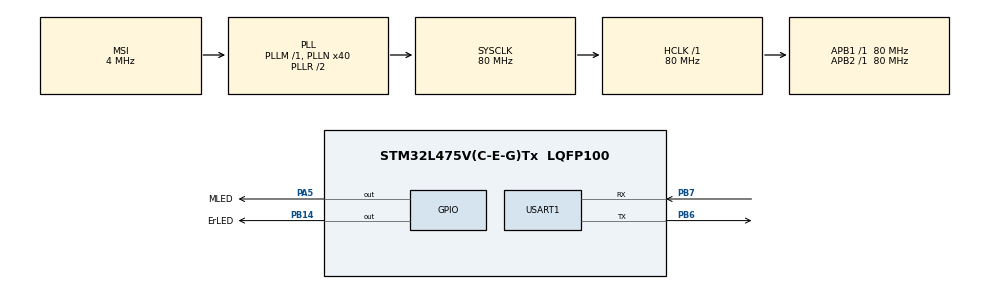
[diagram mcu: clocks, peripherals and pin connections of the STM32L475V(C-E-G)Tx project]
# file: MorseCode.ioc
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Mcu.Family=STM32L4
Mcu.Name=STM32L475V(C-E-G)Tx
Mcu.Package=LQFP100
NVIC.PriorityGroup=NVIC_PRIORITYGROUP_4
PA5.GPIO_Label=MLED
PA5.Signal=GPIO_Output
PB14.GPIO_Label=ErLED
PB14.Signal=GPIO_Output
PB6.Mode=Asynchronous
PB6.Signal=USART1_TX
PB7.Mode=Asynchronous
PB7.Signal=USART1_RX
ProjectManager.HeapSize=0x200
ProjectManager.StackSize=0x400
ProjectManager.TargetToolchain=EWARM V8.32
RCC.ADCFreq_Value=48000000
RCC.AHBFreq_Value=80000000
RCC.APB1Freq_Value=80000000
RCC.APB1TimFreq_Value=80000000
RCC.APB2Freq_Value=80000000
RCC.APB2TimFreq_Value=80000000
RCC.CortexFreq_Value=80000000
RCC.HCLKFreq_Value=80000000
RCC.HSE_VALUE=8000000
RCC.HSI_VALUE=16000000
RCC.LSE_VALUE=32768
RCC.MSI_VALUE=4000000
RCC.PLLN=40
RCC.PLLSAI1N=24
RCC.SYSCLKFreq_VALUE=80000000
RCC.SYSCLKSource=RCC_SYSCLKSOURCE_PLLCLK
RCC.USBFreq_Value=48000000
RCC.VCOOutputFreq_Value=160000000
USART1.VirtualMode-Asynchronous=VM_ASYNC
board=B-L475E-IOT01A1

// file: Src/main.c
/* USER CODE BEGIN Header */
/**
  ******************************************************************************
  * @file           : main.c
  * @brief          : Main program body
  ******************************************************************************
  * @attention
  *
  * <h2><center>&copy; Copyright (c) 2020 STMicroelectronics.
  * All rights reserved.</center></h2>
  *
  * This software component is licensed by ST under BSD 3-Clause license,
  * the "License"; You may not use this file except in compliance with the
  * License. You may obtain a copy of the License at:
  *                        opensource.org/licenses/BSD-3-Clause
  *
  ******************************************************************************
  */
/* USER CODE END Header */

#include "main.h"

/* USER CODE BEGIN PTD */
#define RXBUFFERSIZE 1
#define MAXWORDSIZE  50

#define DOTDELAY     200 // length of a dot is one unit
#define DASHDELAY    600 // length of a dash is three units
#define PARTDELAY    200 // the space between parts of the same letter is one unit
#define LETTERDELAY  400 // space between letters is three units, since one unit delay is carried over from part delay as per assignment
#define WORDDELAY    1400 // Not Used for this task! space between words is seven units
/* USER CODE END PTD */

UART_HandleTypeDef huart1;

void SystemClock_Config(void);
static void MX_GPIO_Init(void);
static void MX_USART1_UART_Init(void);
uint8_t* morseEncode(uint8_t charVal);

/* USER CODE BEGIN 0 */
uint8_t myTxData[] = "Provide your first name to display and lit it's Morse Code, and hit enter: ";
uint8_t myRxData[RXBUFFERSIZE];

uint8_t MorseCode[MAXWORDSIZE * 5];
uint8_t MorseCodeAnalysis[MAXWORDSIZE * 6];

uint8_t RxData[MAXWORDSIZE];
/* USER CODE END 0 */

int main(void)
{
  /* USER CODE BEGIN 1 */
  int Word_Rx = 0;
  int RxDataIndex = 0;
  int MorseCodeIndex = 0;
  int MorseCodeAnalysisIndex = 0;

  /* USER CODE END 1 */

  /* MCU Configuration--------------------------------------------------------*/

  /* Reset of all peripherals, Initializes the Flash interface and the Systick. */
  HAL_Init();

  /* Configure the system clock */
  SystemClock_Config();

  /* Initialize all configured peripherals */
  MX_GPIO_Init();
  MX_USART1_UART_Init();

  /* Provide instruction the user on how to use the tool and what to expect */
  if(HAL_UART_Transmit(&huart1, myTxData, sizeof(myTxData), 10) != HAL_OK)
  {
      Error_Handler();
  }

  /* Read and Store the user input for the first name, upon enter transition to the new line*/
  while(Word_Rx != 1 && RxDataIndex < MAXWORDSIZE)
  {
    while(HAL_UART_Receive(&huart1, myRxData, RXBUFFERSIZE, 5000) != HAL_OK)
    {
        Error_Handler();
    }

    if(HAL_UART_Transmit(&huart1, myRxData, RXBUFFERSIZE, 10) != HAL_OK)
    {
        Error_Handler();
    }

    RxData[RxDataIndex] = myRxData[0];
    ++RxDataIndex;

    if(myRxData[0] == '\r')
    {
        Word_Rx = 1;
        uint8_t newline[] = "\n";

        if(HAL_UART_Transmit(&huart1, newline, RXBUFFERSIZE, 10) != HAL_OK)
        {
            Error_Handler();
        }
    }
  }
  /* End of User Access */

  /* Compute the Morse code for the provided string and store */
  for(int i = 0; i < (RxDataIndex - 1); ++i)
  {
      uint8_t* code = morseEncode(RxData[i]);
      for(int j = 0; code[j] != NULL; ++j)
      {
          MorseCode[MorseCodeIndex++]                 = code[j];
          MorseCodeAnalysis[MorseCodeAnalysisIndex++] = code[j];

      }
      MorseCodeAnalysis[MorseCodeAnalysisIndex++] = '!'; //Signifies letter gap - for LED output purpose
  }

  /* Storing Completed */

  /* Transmit/Output the Morse Code to the user */
  if(HAL_UART_Transmit(&huart1, MorseCode, sizeof(MorseCode), 10) != HAL_OK)
  {
        Error_Handler();
  }

  /* Toggle the LED with proper delay (based on Morse Code Logic)*/
  for (int index = 0; index < MorseCodeAnalysisIndex; ++index)
  {
        if(MorseCodeAnalysis[index] == '!')
        {
            HAL_Delay(LETTERDELAY);
        }
        else
        {
            //HAL_GPIO_TogglePin(MLED_GPIO_Port, MLED_Pin);
            HAL_GPIO_WritePin(MLED_GPIO_Port, MLED_Pin, GPIO_PIN_SET);

            if(MorseCodeAnalysis[index] == '.')
            {
                HAL_Delay(DOTDELAY);
            }
            else
            {
                HAL_Delay(DASHDELAY);
            }

            //HAL_GPIO_TogglePin(MLED_GPIO_Port, MLED_Pin);
            HAL_GPIO_WritePin(MLED_GPIO_Port, MLED_Pin, GPIO_PIN_RESET);

            HAL_Delay(PARTDELAY);
        }
  }

  return 0;
}

/**
  * @brief Encode Morse Code from the obtained character.
  * @param 8 bit character value
  */

uint8_t* morseEncode(uint8_t charVal) {
  // refer to the Morse table
  switch (charVal) {
  case 'a':
    return ".-";
  case 'b':
    return "-...";
  case 'c':
    return "-.-.";
  case 'd':
    return "-..";
  case 'e':
    return ".";
  case 'f':
    return "..-.";
  case 'g':
    return "--.";
  case 'h':
    return "....";
  case 'i':
    return "..";
  case 'j':
    return ".---";
  case 'k':
    return "-.-";
  case 'l':
    return ".-..";
  case 'm':
    return "--";
  case 'n':
    return "-.";
  case 'o':
    return "---";
  case 'p':
    return ".--.";
  case 'q':
    return "--.-";
  case 'r':
    return ".-.";
  case 's':
    return "...";
  case 't':
    return "-";
  case 'u':
    return "..-";
  case 'v':
    return "...-";
  case 'w':
    return ".--";
  case 'x':
    return "-..-";
  case 'y':
    return "-.--";
  case 'z':
    return "--..";
  case '1':
    return ".----";
  case '2':
    return "..---";
  case '3':
    return "...--";
  case '4':
    return "....-";
  case '5':
    return ".....";
  case '6':
    return "-....";
  case '7':
    return "--...";
  case '8':
    return "---..";
  case '9':
    return "----..";
  case '0':
    return "-----";
  default:
    return ".";
  }
}

void SystemClock_Config(void)
{
  RCC_OscInitTypeDef RCC_OscInitStruct = {0};
  RCC_ClkInitTypeDef RCC_ClkInitStruct = {0};
  RCC_PeriphCLKInitTypeDef PeriphClkInit = {0};

  /** Initializes the CPU, AHB and APB busses clocks
  */
  RCC_OscInitStruct.OscillatorType = RCC_OSCILLATORTYPE_MSI;
  RCC_OscInitStruct.MSIState = RCC_MSI_ON;
  RCC_OscInitStruct.MSICalibrationValue = 0;
  RCC_OscInitStruct.MSIClockRange = RCC_MSIRANGE_6;
  RCC_OscInitStruct.PLL.PLLState = RCC_PLL_ON;
  RCC_OscInitStruct.PLL.PLLSource = RCC_PLLSOURCE_MSI;
  RCC_OscInitStruct.PLL.PLLM = 1;
  RCC_OscInitStruct.PLL.PLLN = 40;
  RCC_OscInitStruct.PLL.PLLP = RCC_PLLP_DIV7;
  RCC_OscInitStruct.PLL.PLLQ = RCC_PLLQ_DIV2;
  RCC_OscInitStruct.PLL.PLLR = RCC_PLLR_DIV2;
  if (HAL_RCC_OscConfig(&RCC_OscInitStruct) != HAL_OK)
  {
    Error_Handler();
  }
  /** Initializes the CPU, AHB and APB busses clocks
  */
  RCC_ClkInitStruct.ClockType = RCC_CLOCKTYPE_HCLK|RCC_CLOCKTYPE_SYSCLK
                              |RCC_CLOCKTYPE_PCLK1|RCC_CLOCKTYPE_PCLK2;
  RCC_ClkInitStruct.SYSCLKSource = RCC_SYSCLKSOURCE_PLLCLK;
  RCC_ClkInitStruct.AHBCLKDivider = RCC_SYSCLK_DIV1;
  RCC_ClkInitStruct.APB1CLKDivider = RCC_HCLK_DIV1;
  RCC_ClkInitStruct.APB2CLKDivider = RCC_HCLK_DIV1;

  if (HAL_RCC_ClockConfig(&RCC_ClkInitStruct, FLASH_LATENCY_4) != HAL_OK)
  {
    Error_Handler();
  }
  PeriphClkInit.PeriphClockSelection = RCC_PERIPHCLK_USART1;
  PeriphClkInit.Usart1ClockSelection = RCC_USART1CLKSOURCE_PCLK2;
  if (HAL_RCCEx_PeriphCLKConfig(&PeriphClkInit) != HAL_OK)
  {
    Error_Handler();
  }
  /** Configure the main internal regulator output voltage
  */
  if (HAL_PWREx_ControlVoltageScaling(PWR_REGULATOR_VOLTAGE_SCALE1) != HAL_OK)
  {
    Error_Handler();
  }
}

static void MX_USART1_UART_Init(void)
{

  huart1.Instance = USART1;
  huart1.Init.BaudRate = 115200;
  huart1.Init.WordLength = UART_WORDLENGTH_8B;
  huart1.Init.StopBits = UART_STOPBITS_1;
  huart1.Init.Parity = UART_PARITY_NONE;
  huart1.Init.Mode = UART_MODE_TX_RX;
  huart1.Init.HwFlowCtl = UART_HWCONTROL_NONE;
  huart1.Init.OverSampling = UART_OVERSAMPLING_16;
  huart1.Init.OneBitSampling = UART_ONE_BIT_SAMPLE_DISABLE;
  huart1.AdvancedInit.AdvFeatureInit = UART_ADVFEATURE_NO_INIT;
  if (HAL_UART_Init(&huart1) != HAL_OK)
  {
    Error_Handler();
  }

}

static void MX_GPIO_Init(void)
{
  GPIO_InitTypeDef GPIO_InitStruct = {0};

  /* GPIO Ports Clock Enable */
  __HAL_RCC_GPIOA_CLK_ENABLE();
  __HAL_RCC_GPIOB_CLK_ENABLE();

  /*Configure GPIO pin Output Level */
  HAL_GPIO_WritePin(MLED_GPIO_Port, MLED_Pin, GPIO_PIN_RESET);

  /*Configure GPIO pin Output Level */
  HAL_GPIO_WritePin(ErLED_GPIO_Port, ErLED_Pin, GPIO_PIN_RESET);

  /*Configure GPIO pin : MLED_Pin */
  GPIO_InitStruct.Pin = MLED_Pin;
  GPIO_InitStruct.Mode = GPIO_MODE_OUTPUT_PP;
  GPIO_InitStruct.Pull = GPIO_NOPULL;
  GPIO_InitStruct.Speed = GPIO_SPEED_FREQ_LOW;
  HAL_GPIO_Init(MLED_GPIO_Port, &GPIO_InitStruct);

  /*Configure GPIO pin : ErLED_Pin */
  GPIO_InitStruct.Pin = ErLED_Pin;
  GPIO_InitStruct.Mode = GPIO_MODE_OUTPUT_PP;
  GPIO_InitStruct.Pull = GPIO_NOPULL;
  GPIO_InitStruct.Speed = GPIO_SPEED_FREQ_LOW;
  HAL_GPIO_Init(ErLED_GPIO_Port, &GPIO_InitStruct);

}

void Error_Handler(void)
{
  /* USER CODE BEGIN Error_Handler_Debug */
  /* User can add his own implementation to report the HAL error return state */
  HAL_GPIO_WritePin(ErLED_GPIO_Port, ErLED_Pin, GPIO_PIN_RESET);
  /* USER CODE END Error_Handler_Debug */
}

/************************ (C) COPYRIGHT STMicroelectronics *****END OF FILE****/
